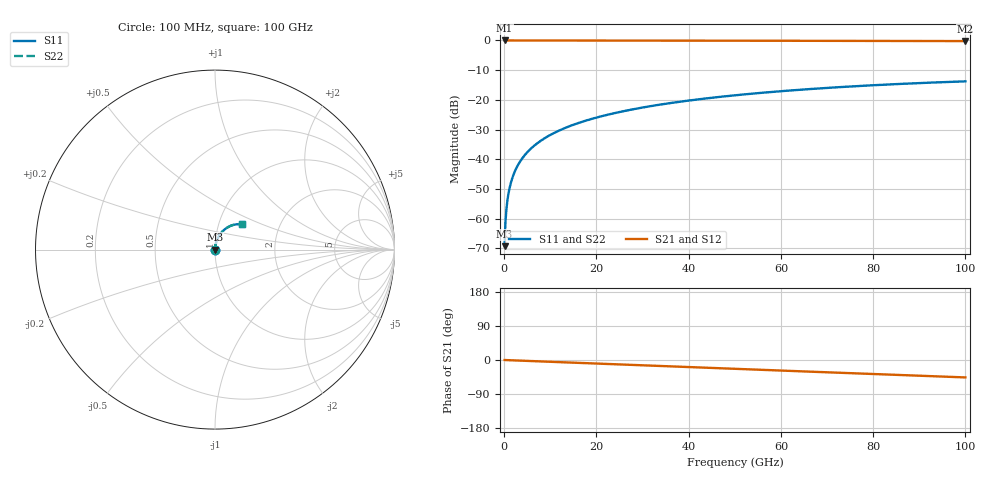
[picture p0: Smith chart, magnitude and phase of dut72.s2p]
! Touchstone file exported from HFSS 2026.1.0
!  File:  C:/ffzhzh/LocalFiles/Ansys_Project_Files/temp_train_TSV_72_1783505296_41296.aedt
!  Generated:  06:09:44 PM Jul  8, 2026
!  Design:  TSV
!  Project:  temp_train_TSV_72_1783505296_41296
! Variables:
!  h_bsmrdl = 2um
!  h_ox = 20um
!  h_rdl = 5um
!  h_sub = 87.35um
!  h_tmrdl = 5um
!  h_tsv = 87.35um
!  h_via = 3um
!  l_bsmrdl = 300um
!  l_sub = 417.06um
!  l_tmrdl = 200um
!  m_sub = 200um
!  pitch = 51.84um
!  r_tsv = 8.53um
!  s_tmrdl = 10um
!  w_bsmrdl = 18um
!  w_sub = 500um
!  w_tmrdl = 12um
!  x_tsv_center1 = 206um
!  x_tsv_center2 = 524um
!  x_tsv_center3 = 736um
!  x_tsv_center4 = 1054um
!  x_tsv_center5 = 1266um
!  x_tsv_center6 = 1584um
# GHz S MA R 50.000000
! Terminal data exported
! Port[1] = TSV1_1_T1
! Port[2] = TSV1_1_T2
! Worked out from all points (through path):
!   1000 points, 100 MHz to 100 GHz, reference 50 ohm
!   highest |S21| = 0.00 dB at 100 MHz (marker M1); lowest = -0.2 dB at 100 GHz (marker M2)
!   group delay of S21, straight-line fit = 1.28 ps
!   lowest |S11| = -69.3 dB at 100 MHz (marker M3), VSWR 1.00, Z = 50 + j0.0297 ohm
!   |S11| at or under -10 dB: start of sweep to end of sweep
!   |S22| runs from -69.3 to -13.8 dB; largest |S21 - S12| = 4.1e-15
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0.1  0.0003427 59.9  0.9998 -0.0  0.9998 -0.0  0.0003427 59.9
! Gamma 0 0 0 0
! Port Impedance 50 0 50 0
0.3  0.000901 77.0  0.9998 -0.1  0.9998 -0.1  0.000901 77.0
0.7  0.002 81.6  0.9997 -0.3  0.9997 -0.3  0.002 81.6
0.8  0.002268 82.0  0.9997 -0.4  0.9997 -0.4  0.002268 82.0
1  0.002799 82.7  0.9997 -0.5  0.9997 -0.5  0.002799 82.7
1.3  0.003588 83.3  0.9996 -0.6  0.9996 -0.6  0.003588 83.3
1.7  0.004632 83.8  0.9996 -0.8  0.9996 -0.8  0.004632 83.8
2.3  0.006185 84.2  0.9995 -1.1  0.9995 -1.1  0.006185 84.2
3  0.007979 84.4  0.9994 -1.4  0.9994 -1.4  0.007979 84.4
3.8  0.01001 84.4  0.9993 -1.8  0.9993 -1.8  0.01001 84.4
4.8  0.01254 84.4  0.9992 -2.3  0.9992 -2.3  0.01254 84.4
6  0.01557 84.1  0.9991 -2.8  0.9991 -2.8  0.01557 84.1
8.8  0.02259 83.3  0.9988 -4.2  0.9988 -4.2  0.02259 83.3
12.4  0.03155 82.0  0.9983 -5.8  0.9983 -5.8  0.03155 82.0
16.8  0.04238 80.2  0.9977 -7.9  0.9977 -7.9  0.04238 80.2
24.2  0.06034 77.1  0.9965 -11.3  0.9965 -11.3  0.06034 77.1
33.4  0.08208 73.0  0.9947 -15.6  0.9947 -15.6  0.08208 73.0
41.2  0.09987 69.6  0.9928 -19.2  0.9928 -19.2  0.09987 69.6
50.1  0.1193 65.6  0.9905 -23.3  0.9905 -23.3  0.1193 65.6
66.7  0.1526 58.1  0.9856 -30.9  0.9856 -30.9  0.1526 58.1
83.4  0.1815 50.7  0.9804 -38.5  0.9804 -38.5  0.1815 50.7
100  0.2047 43.3  0.9755 -46.0  0.9755 -46.0  0.2047 43.3
